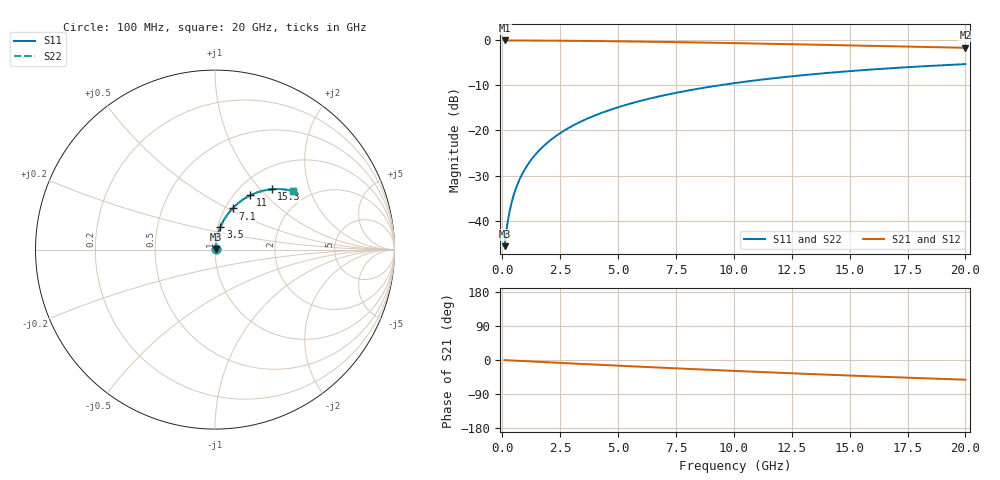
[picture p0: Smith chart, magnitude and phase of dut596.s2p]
! Touchstone file exported from HFSS 2026.1.0
!  File:  C:/ffzhzh/LocalFiles/Ansys_Project_Files/temp_train_BSMRDL_596_1783015982_51716.aedt
!  Generated:  02:14:44 AM Jul  3, 2026
!  Design:  BSMRDL
!  Project:  temp_train_BSMRDL_596_1783015982_51716
! Variables:
!  h_bsmrdl = 5.57um
!  h_ox = 20um
!  h_rdl = 5um
!  h_sub = 80um
!  h_tmrdl = 5um
!  h_tsv = 80um
!  h_via = 3um
!  l_bsmrdl = 735.08um
!  l_sub = 1135.08um
!  l_tmrdl = 200um
!  m_sub = 200um
!  pitch = 54.36um
!  r_tsv = 6um
!  s_tmrdl = 10um
!  w_bsmrdl = 13.83um
!  w_sub = 500um
!  w_tmrdl = 12um
!  x_tsv_center1 = 206um
!  x_tsv_center2 = 954.91um
!  x_tsv_center3 = 1166.91um
!  x_tsv_center4 = 1915.82um
!  x_tsv_center5 = 2127.82um
!  x_tsv_center6 = 2876.73um
# GHz S MA R 50.000000
! Terminal data exported
! Port[1] = BSM_RDL1_1_T1
! Port[2] = BSM_RDL1_1_T2
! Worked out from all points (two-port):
!   200 points, 100 MHz to 20 GHz, reference 50 ohm
!   highest |S21| = -0.03 dB at 100 MHz (marker M1); lowest = -1.7 dB at 20 GHz (marker M2)
!   |S21| within 3 dB of the highest: start of sweep to end of sweep
!   lowest |S11| = -45.7 dB at 100 MHz (marker M3), VSWR 1.01, Z = 50.3 + j0.392 ohm
!   |S11| at or under -10 dB: start of sweep to 9.356 GHz
!   |S22| runs from -45.7 to -5.3 dB; largest |S21 - S12| = 5.9e-15
!   S11 on the Smith chart (normalised r, x): 100 MHz: 1.01, +0.01; 3.5 GHz: 1.03, +0.26; 7.1 GHz: 1.08, +0.53; 11 GHz: 1.18, +0.82; 15.3 GHz: 1.36, +1.16; 20 GHz: 1.66, +1.54
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0.1  0.005201 48.4  0.9966 -0.3  0.9966 -0.3  0.005201 48.4
! Gamma 0 0 0 0
! Port Impedance 50 0 50 0
0.2  0.008534 65.0  0.9964 -0.6  0.9964 -0.6  0.008534 65.0
0.3  0.01214 71.7  0.9963 -0.9  0.9963 -0.9  0.01214 71.7
0.4  0.0158 75.2  0.9962 -1.2  0.9962 -1.2  0.0158 75.2
0.5  0.01949 77.2  0.996 -1.6  0.996 -1.6  0.01949 77.2
0.7  0.02691 79.5  0.9957 -2.2  0.9957 -2.2  0.02691 79.5
1  0.03807 80.7  0.9952 -3.1  0.9952 -3.1  0.03807 80.7
1.4  0.05294 81.0  0.9942 -4.3  0.9942 -4.3  0.05294 81.0
2  0.07511 80.2  0.9923 -6.1  0.9923 -6.1  0.07511 80.2
2.7  0.1006 78.6  0.9894 -8.2  0.9894 -8.2  0.1006 78.6
3.5  0.1292 76.6  0.9853 -10.6  0.9853 -10.6  0.1292 76.6
4.2  0.1536 74.7  0.9811 -12.7  0.9811 -12.7  0.1536 74.7
5  0.1809 72.5  0.9757 -15.0  0.9757 -15.0  0.1809 72.5
6.8  0.2396 67.7  0.9617 -20.1  0.9617 -20.1  0.2396 67.7
7.1  0.249 66.9  0.9591 -20.9  0.9591 -20.9  0.249 66.9
8.5  0.2915 63.2  0.9463 -24.7  0.9463 -24.7  0.2915 63.2
10.1  0.337 59.2  0.9306 -29.0  0.9306 -29.0  0.337 59.2
11  0.3611 56.9  0.9213 -31.3  0.9213 -31.3  0.3611 56.9
13.4  0.4201 51.1  0.8956 -37.3  0.8956 -37.3  0.4201 51.1
15.3  0.4614 46.7  0.875 -41.8  0.875 -41.8  0.4614 46.7
16.7  0.4889 43.6  0.86 -44.9  0.86 -44.9  0.4889 43.6
20  0.5445 36.7  0.8263 -52.0  0.8263 -52.0  0.5445 36.7
